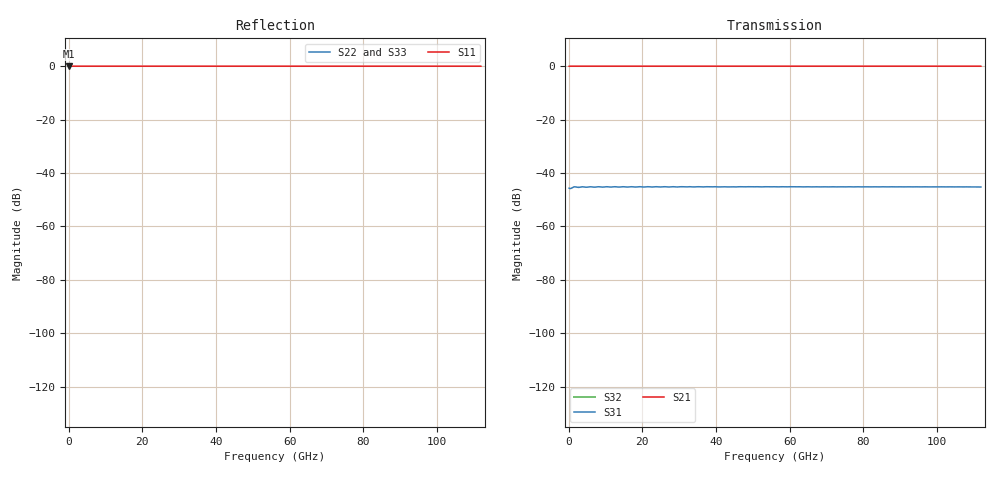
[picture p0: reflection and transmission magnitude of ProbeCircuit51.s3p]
! File created by SignalIntegrity v1.3.3: Signal and Power Integrity Tools
! https://github.com/TeledyneLeCroy/SignalIntegrity
# MHz S MA R 50.0
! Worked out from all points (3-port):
!   1120 points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, 100 MHz to 112 GHz, reference 50 ohm
!   strongest paths, dB at 100 MHz, 28.1 GHz, 56.1 GHz, 84.1 GHz, 112 GHz:
!     S21: 0.0, 0.0, 0.0, 0.0, 0.0
!     S31: -45.7, -45.2, -45.2, -45.2, -45.2
!     S32: -, -, -, -, -
!   lowest |S11| = 0.0 dB at 100 MHz (marker M1)
!   |S11| at or under -10 dB: nowhere
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100  1 0.0  0 0.0  0 0.0
     1 0.0  0 0.0  0 0.0
     0.005197 -0.8  0 0.0  0 0.0
600  1 0.0  0 0.0  0 0.0
     1 0.0  0 0.0  0 0.0
     0.005147 2.1  0 0.0  0 0.0
1600  1 0.0  0 0.0  0 0.0
      1 0.0  0 0.0  0 0.0
      0.005509 1.5  0 0.0  0 0.0
2700  1 0.0  0 0.0  0 0.0
      1 0.0  0 0.0  0 0.0
      0.005375 1.1  0 0.0  0 0.0
3700  1 0.0  0 0.0  0 0.0
      1 0.0  0 0.0  0 0.0
      0.005514 0.9  0 0.0  0 0.0
4800  1 0.0  0 0.0  0 0.0
      1 0.0  0 0.0  0 0.0
      0.005411 0.8  0 0.0  0 0.0
5800  1 0.0  0 0.0  0 0.0
      1 0.0  0 0.0  0 0.0
      0.005519 0.8  0 0.0  0 0.0
10300  1 0.0  0 0.0  0 0.0
       1 0.0  0 0.0  0 0.0
       0.005528 0.5  0 0.0  0 0.0
56100  1 0.0  0 0.0  0 0.0
       1 0.0  0 0.0  0 0.0
       0.005506 0.0  0 0.0  0 0.0
112000  1 0.0  0 0.0  0 0.0
        1 0.0  0 0.0  0 0.0
        0.005468 0.1  0 0.0  0 0.0
